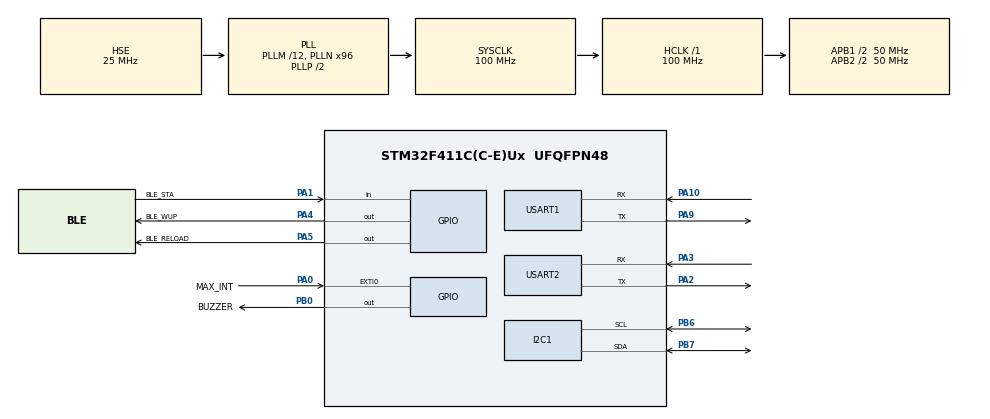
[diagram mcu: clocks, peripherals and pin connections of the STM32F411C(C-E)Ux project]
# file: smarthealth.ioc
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Dma.Request0=USART2_RX
Dma.Request1=USART2_TX
Dma.Request2=USART1_RX
Dma.Request3=USART1_TX
Dma.USART1_RX.2.Direction=DMA_PERIPH_TO_MEMORY
Dma.USART1_RX.2.FIFOMode=DMA_FIFOMODE_DISABLE
Dma.USART1_RX.2.Instance=DMA2_Stream2
Dma.USART1_RX.2.MemDataAlignment=DMA_MDATAALIGN_BYTE
Dma.USART1_RX.2.MemInc=DMA_MINC_ENABLE
Dma.USART1_RX.2.Mode=DMA_CIRCULAR
Dma.USART1_RX.2.PeriphDataAlignment=DMA_PDATAALIGN_BYTE
Dma.USART1_RX.2.PeriphInc=DMA_PINC_DISABLE
Dma.USART1_RX.2.Priority=DMA_PRIORITY_LOW
Dma.USART1_TX.3.Direction=DMA_MEMORY_TO_PERIPH
Dma.USART1_TX.3.FIFOMode=DMA_FIFOMODE_DISABLE
Dma.USART1_TX.3.Instance=DMA2_Stream7
Dma.USART1_TX.3.MemDataAlignment=DMA_MDATAALIGN_BYTE
Dma.USART1_TX.3.MemInc=DMA_MINC_ENABLE
Dma.USART1_TX.3.Mode=DMA_NORMAL
Dma.USART1_TX.3.PeriphDataAlignment=DMA_PDATAALIGN_BYTE
Dma.USART1_TX.3.PeriphInc=DMA_PINC_DISABLE
Dma.USART1_TX.3.Priority=DMA_PRIORITY_LOW
Dma.USART2_RX.0.Direction=DMA_PERIPH_TO_MEMORY
Dma.USART2_RX.0.FIFOMode=DMA_FIFOMODE_DISABLE
Dma.USART2_RX.0.Instance=DMA1_Stream5
Dma.USART2_RX.0.MemDataAlignment=DMA_MDATAALIGN_BYTE
Dma.USART2_RX.0.MemInc=DMA_MINC_ENABLE
Dma.USART2_RX.0.Mode=DMA_CIRCULAR
Dma.USART2_RX.0.PeriphDataAlignment=DMA_PDATAALIGN_BYTE
Dma.USART2_RX.0.PeriphInc=DMA_PINC_DISABLE
Dma.USART2_RX.0.Priority=DMA_PRIORITY_LOW
Dma.USART2_TX.1.Direction=DMA_MEMORY_TO_PERIPH
Dma.USART2_TX.1.FIFOMode=DMA_FIFOMODE_DISABLE
Dma.USART2_TX.1.Instance=DMA1_Stream6
Dma.USART2_TX.1.MemDataAlignment=DMA_MDATAALIGN_BYTE
Dma.USART2_TX.1.MemInc=DMA_MINC_ENABLE
Dma.USART2_TX.1.Mode=DMA_NORMAL
Dma.USART2_TX.1.PeriphDataAlignment=DMA_PDATAALIGN_BYTE
Dma.USART2_TX.1.PeriphInc=DMA_PINC_DISABLE
Dma.USART2_TX.1.Priority=DMA_PRIORITY_LOW
FREERTOS.Mutexes01=I2C1_Mutex,Dynamic,NULL,Available
FREERTOS.Queues01=SensorDataQueue,8,16,1,Dynamic,NULL,NULL
FREERTOS.Tasks01=defaultTask,24,512,StartDefaultTask,Default,NULL,Dynamic,NULL,NULL;MonitorTask,40,512,StartTask02,Default,NULL,Dynamic,NULL,NULL;SensorTask,32,512,StartTask03,Default,NULL,Dynamic,NULL,NULL;BLETask,24,1024,StartTask04,Default,NULL,Dynamic,NULL,NULL
FREERTOS.configTOTAL_HEAP_SIZE=30960
Mcu.Family=STM32F4
Mcu.Name=STM32F411C(C-E)Ux
Mcu.Package=UFQFPN48
NVIC.DMA1_Stream5_IRQn=true\:5\:0\:false\:false\:true\:true\:false\:true\:true
NVIC.DMA1_Stream6_IRQn=true\:5\:0\:false\:false\:true\:true\:false\:true\:true
NVIC.DMA2_Stream2_IRQn=true\:5\:0\:false\:false\:true\:true\:false\:true\:true
NVIC.DMA2_Stream7_IRQn=true\:5\:0\:false\:false\:true\:true\:false\:true\:true
NVIC.EXTI0_IRQn=true\:5\:0\:true\:false\:true\:true\:true\:true\:true
NVIC.PriorityGroup=NVIC_PRIORITYGROUP_4
NVIC.TIM4_IRQn=true\:15\:0\:true\:false\:true\:false\:false\:true\:true
NVIC.TimeBase=TIM4_IRQn
NVIC.TimeBaseIP=TIM4
NVIC.USART1_IRQn=true\:7\:0\:true\:false\:true\:true\:true\:true\:true
NVIC.USART2_IRQn=true\:6\:0\:true\:false\:true\:true\:true\:true\:true
PA0-WKUP.GPIO_Label=MAX_INT
PA0-WKUP.GPIO_ModeDefaultEXTI=GPIO_MODE_IT_FALLING
PA0-WKUP.Signal=GPXTI0
PA1.GPIO_Label=BLE_STA
PA1.Signal=GPIO_Input
PA10.Mode=Asynchronous
PA10.Signal=USART1_RX
PA13.Mode=Serial_Wire
PA13.Signal=SYS_JTMS-SWDIO
PA14.Mode=Serial_Wire
PA14.Signal=SYS_JTCK-SWCLK
PA2.Mode=Asynchronous
PA2.Signal=USART2_TX
PA3.Mode=Asynchronous
PA3.Signal=USART2_RX
PA4.GPIO_Label=BLE_WUP
PA4.PinState=GPIO_PIN_SET
PA4.Signal=GPIO_Output
PA5.GPIO_Label=BLE_RELOAD
PA5.GPIO_Speed=GPIO_SPEED_FREQ_LOW
PA5.PinState=GPIO_PIN_SET
PA5.Signal=GPIO_Output
PA9.Mode=Asynchronous
PA9.Signal=USART1_TX
PB0.GPIO_Label=BUZZER
PB0.Signal=GPIO_Output
PB6.Mode=I2C
PB6.Signal=I2C1_SCL
PB7.Mode=I2C
PB7.Signal=I2C1_SDA
PH0\ -\ OSC_IN.Mode=HSE-External-Oscillator
PH0\ -\ OSC_IN.Signal=RCC_OSC_IN
PH1\ -\ OSC_OUT.Mode=HSE-External-Oscillator
PH1\ -\ OSC_OUT.Signal=RCC_OSC_OUT
ProjectManager.HeapSize=0x200
ProjectManager.StackSize=0x400
ProjectManager.TargetToolchain=MDK-ARM V5.32
RCC.48MHZClocksFreq_Value=50000000
RCC.AHBFreq_Value=100000000
RCC.APB1CLKDivider=RCC_HCLK_DIV2
RCC.APB1Freq_Value=50000000
RCC.APB1TimFreq_Value=100000000
RCC.APB2CLKDivider=RCC_HCLK_DIV2
RCC.APB2Freq_Value=50000000
RCC.APB2TimFreq_Value=100000000
RCC.CortexFreq_Value=100000000
RCC.HCLKFreq_Value=100000000
RCC.HSE_VALUE=25000000
RCC.HSI_VALUE=16000000
RCC.LSE_VALUE=32768
RCC.PLLM=12
RCC.PLLN=96
RCC.PLLSourceVirtual=RCC_PLLSOURCE_HSE
RCC.SYSCLKFreq_VALUE=100000000
RCC.SYSCLKSource=RCC_SYSCLKSOURCE_PLLCLK
RCC.VCOOutputFreq_Value=200000000
USART1.VirtualMode=VM_ASYNC
USART2.VirtualMode=VM_ASYNC
VP_FREERTOS_VS_CMSIS_V2.Mode=CMSIS_V2
VP_SYS_VS_tim4.Mode=TIM4
board=custom

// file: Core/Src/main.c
/* USER CODE BEGIN Header */
/**
  ******************************************************************************
  * @file           : main.c
  * @brief          : Main program body
  ******************************************************************************
  * @attention
  *
  * Copyright (c) 2026 STMicroelectronics.
  * All rights reserved.
  *
  * This software is licensed under terms that can be found in the LICENSE file
  * in the root directory of this software component.
  * If no LICENSE file comes with this software, it is provided AS-IS.
  *
  ******************************************************************************
  */
/* USER CODE END Header */
#include "main.h"
#include "cmsis_os.h"
#include "dma.h"
#include "i2c.h"
#include "usart.h"
#include "gpio.h"

/* USER CODE BEGIN Includes */
#include "bsp_ble.h"
#include "bsp_usart2.h"
/* USER CODE END Includes */

void SystemClock_Config(void);
void MX_FREERTOS_Init(void);

int main(void)
{

  /* MCU Configuration--------------------------------------------------------*/

  /* Reset of all peripherals, Initializes the Flash interface and the Systick. */
  HAL_Init();

  /* Configure the system clock */
  SystemClock_Config();

  /* Initialize all configured peripherals */
  MX_GPIO_Init();
  MX_DMA_Init();
  MX_I2C1_Init();
  MX_USART1_UART_Init();
  MX_USART2_UART_Init();

  /* Init scheduler */
  osKernelInitialize();

  /* Call init function for freertos objects (in cmsis_os2.c) */
  MX_FREERTOS_Init();

  /* Start scheduler */
  osKernelStart();

  /* We should never get here as control is now taken by the scheduler */

  /* Infinite loop */
  while (1)
  {

  }
}

void SystemClock_Config(void)
{
  RCC_OscInitTypeDef RCC_OscInitStruct = {0};
  RCC_ClkInitTypeDef RCC_ClkInitStruct = {0};

  /** Configure the main internal regulator output voltage
  */
  __HAL_RCC_PWR_CLK_ENABLE();
  __HAL_PWR_VOLTAGESCALING_CONFIG(PWR_REGULATOR_VOLTAGE_SCALE1);

  /** Initializes the RCC Oscillators according to the specified parameters
  * in the RCC_OscInitTypeDef structure.
  */
  RCC_OscInitStruct.OscillatorType = RCC_OSCILLATORTYPE_HSE;
  RCC_OscInitStruct.HSEState = RCC_HSE_ON;
  RCC_OscInitStruct.PLL.PLLState = RCC_PLL_ON;
  RCC_OscInitStruct.PLL.PLLSource = RCC_PLLSOURCE_HSE;
  RCC_OscInitStruct.PLL.PLLM = 12;
  RCC_OscInitStruct.PLL.PLLN = 96;
  RCC_OscInitStruct.PLL.PLLP = RCC_PLLP_DIV2;
  RCC_OscInitStruct.PLL.PLLQ = 4;
  if (HAL_RCC_OscConfig(&RCC_OscInitStruct) != HAL_OK)
  {
    Error_Handler();
  }

  /** Initializes the CPU, AHB and APB buses clocks
  */
  RCC_ClkInitStruct.ClockType = RCC_CLOCKTYPE_HCLK|RCC_CLOCKTYPE_SYSCLK
                              |RCC_CLOCKTYPE_PCLK1|RCC_CLOCKTYPE_PCLK2;
  RCC_ClkInitStruct.SYSCLKSource = RCC_SYSCLKSOURCE_PLLCLK;
  RCC_ClkInitStruct.AHBCLKDivider = RCC_SYSCLK_DIV1;
  RCC_ClkInitStruct.APB1CLKDivider = RCC_HCLK_DIV2;
  RCC_ClkInitStruct.APB2CLKDivider = RCC_HCLK_DIV2;

  if (HAL_RCC_ClockConfig(&RCC_ClkInitStruct, FLASH_LATENCY_3) != HAL_OK)
  {
    Error_Handler();
  }
}

void HAL_TIM_PeriodElapsedCallback(TIM_HandleTypeDef *htim)
{
  if (htim->Instance == TIM4)
  {
    HAL_IncTick();
  }
}

void Error_Handler(void)
{
  __disable_irq();
  while (1)
  {
  }
}

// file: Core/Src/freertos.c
/* USER CODE BEGIN Header */
/**
  ******************************************************************************
  * @file    freertos.c
  * @brief   FreeRTOS 应用程序 - 任务实现
  ******************************************************************************
  * @attention
  *
  * Copyright (c) 2026 STMicroelectronics.
  * All rights reserved.
  *
  ******************************************************************************
  */
/* USER CODE END Header */

#include "FreeRTOS.h"
#include "task.h"
#include "main.h"
#include "cmsis_os.h"

/* USER CODE BEGIN Includes */
#include "sensor_task.h"
#include "bsp_ble.h"
#include "bsp_usart2.h"
#include "SensorData.h"
#include "cmsis_os2.h"
/* USER CODE END Includes */

/* USER CODE BEGIN PD */
#define BLE_ALERT_BUZZER_TIMEOUT_MS  5000   /* 报警持续5秒后自动停止 */
#define BLE_SEND_INTERVAL_MS          2000   /* 每2秒发送一次蓝牙数据 */
/* USER CODE END PD */

/* Definitions for defaultTask */
osThreadId_t defaultTaskHandle;
const osThreadAttr_t defaultTask_attributes = {
  .name = "defaultTask",
  .stack_size = 512 * 4,
  .priority = (osPriority_t) osPriorityNormal,
};
/* Definitions for MonitorTask */
osThreadId_t MonitorTaskHandle;
const osThreadAttr_t MonitorTask_attributes = {
  .name = "MonitorTask",
  .stack_size = 512 * 4,
  .priority = (osPriority_t) osPriorityHigh,
};
/* Definitions for SensorTask */
osThreadId_t SensorTaskHandle;
const osThreadAttr_t SensorTask_attributes = {
  .name = "SensorTask",
  .stack_size = 512 * 4,
  .priority = (osPriority_t) osPriorityAboveNormal,
};
/* Definitions for BLETask */
osThreadId_t BLETaskHandle;
const osThreadAttr_t BLETask_attributes = {
  .name = "BLETask",
  .stack_size = 1024 * 4,
  .priority = (osPriority_t) osPriorityNormal,
};
/* Definitions for SensorDataQueue */
osMessageQueueId_t SensorDataQueueHandle;
const osMessageQueueAttr_t SensorDataQueue_attributes = {
  .name = "SensorDataQueue"
};
/* Definitions for I2C1_Mutex */
osMutexId_t I2C1_MutexHandle;
const osMutexAttr_t I2C1_Mutex_attributes = {
  .name = "I2C1_Mutex"
};

void StartDefaultTask(void *argument);
void StartTask02_Monitor(void *argument);
void StartTask03_Sensor(void *argument);
void StartTask04_BLE(void *argument);

void MX_FREERTOS_Init(void); /* (MISRA C 2004 rule 8.1) */

void MX_FREERTOS_Init(void) {

  /* Create the mutex(es) */
  /* creation of I2C1_Mutex */
  I2C1_MutexHandle = osMutexNew(&I2C1_Mutex_attributes);

  /* Create the queue(s) */
  /* creation of SensorDataQueue */
  /* Item Size = 16 字节（sizeof(SensorData_t)=10 字节，留6字节余量） */
  SensorDataQueueHandle = osMessageQueueNew (8, 16, &SensorDataQueue_attributes);

  /* Create the thread(s) */
  /* creation of defaultTask */
  defaultTaskHandle = osThreadNew(StartDefaultTask, NULL, &defaultTask_attributes);

  /* creation of MonitorTask */
  /* [已禁用] MonitorTask - 暂时注释掉，避免因未连接心率传感器导致误报警
   * MonitorTaskHandle = osThreadNew(StartTask02_Monitor, NULL, &MonitorTask_attributes);
   */

  /* creation of SensorTask */
  SensorTaskHandle = osThreadNew(StartTask03_Sensor, NULL, &SensorTask_attributes);

  /* creation of BLETask */
  BLETaskHandle = osThreadNew(StartTask04_BLE, NULL, &BLETask_attributes);

}

void StartDefaultTask(void *argument)
{
  /* USER CODE BEGIN StartDefaultTask */
  (void)argument;
  for(;;)
  {
    osDelay(1);
  }
  /* USER CODE END StartDefaultTask */
}

/* USER CODE BEGIN Header_StartTask02 */
/**
 * @brief  MonitorTask - 监控异常并触发蜂鸣器报警
 * @param  argument: Not used
 * @retval None
 *
 * 逻辑说明：
 *   - [已禁用] 此任务已被休眠，不再运行
 *   - 原逻辑：阻塞等待 SensorDataQueue 数据，若心率或血氧异常，拉高 PB0 触发蜂鸣器
 *   - 如需恢复，请删除 vTaskSuspend(NULL);
 */
/* USER CODE END Header_StartTask02 */
void StartTask02_Monitor(void *argument)
{
  /* USER CODE BEGIN StartTask02 */
  (void)argument;

  /* 任务创建后立即休眠，不再运行 */
  vTaskSuspend(NULL);

  /* 以下为原逻辑（已禁用）：
  SensorData_t data;
  TickType_t buzz_end_tick = 0;

  for(;;)
  {
    if (osMessageQueueGet(SensorDataQueueHandle, &data, NULL,
                           pdMS_TO_TICKS(2000)) == osOK)
    {
      if (SensorData_IsAlert(&data))
      {
        HAL_GPIO_WritePin(BUZZER_GPIO_Port, BUZZER_Pin, GPIO_PIN_SET);
        buzz_end_tick = xTaskGetTickCount()
                      + pdMS_TO_TICKS(BLE_ALERT_BUZZER_TIMEOUT_MS);
      }
    }

    if (buzz_end_tick > 0 && xTaskGetTickCount() >= buzz_end_tick)
    {
      HAL_GPIO_WritePin(BUZZER_GPIO_Port, BUZZER_Pin, GPIO_PIN_RESET);
      buzz_end_tick = 0;
    }
  }
  */
  /* USER CODE END StartTask02 */
}

/* USER CODE BEGIN Header_StartTask03 */
/**
  * @brief  SensorTask - 直接调用 Algorithm 层的 SensorTask_Entry
  * @param  argument: Not used
  * @retval None
  *
  * 逻辑说明：
  *   - 此任务是 FreeRTOS 线程入口，调用 algorithm/sensor_task.c 中的
  *     SensorTask_Entry() 实现
  *   - 传感器读取 → 滤波 → 计算心率/血氧 → 入队
  */
/* USER CODE END Header_StartTask03 */
void StartTask03_Sensor(void *argument)
{
  /* USER CODE BEGIN StartTask03 */
  SensorTask_Entry(argument);
  /* 不应返回 */
  /* USER CODE END StartTask03 */
}

/* USER CODE BEGIN Header_StartTask04 */
/**
  * @brief  BLETask - 接收传感器数据并通过蓝牙发送
  * @param  argument: Not used
  * @retval None
  *
  * 逻辑说明：
  *   - 阻塞等待 SensorDataQueue 数据
  *   - 调用 bsp_ble.c 的打包函数，将数据转为 JSON 或十六进制帧
  *   - 通过 BSP_USART2_Send 发送到手机
  *   - 同时处理手机下发的 BLE 指令（通过 USART2 接收队列）
  */
/* USER CODE END Header_StartTask04 */
void StartTask04_BLE(void *argument)
{
  /* USER CODE BEGIN StartTask04 */
  (void)argument;
  SensorData_t sensor_data;
  USART2_Frame_t cmd_frame;
  // uint8_t ble_frame[20];
  char json_buf[128];
  TickType_t last_send_tick = 0;
  const TickType_t send_interval = pdMS_TO_TICKS(BLE_SEND_INTERVAL_MS);

  /* 初始化 BLE GPIO */
  BSP_BLE_Init();
  BSP_BLE_Wakeup();

  /* 初始化 USART2 DMA + 空闲中断接收 */
  BSP_USART2_Init();

  /* 等待 BLE 连接 */
  while (!BSP_BLE_IsConnected())
  {
    osDelay(500);
  }

  for(;;)
  {
    /* ── 接收手机指令（超时50ms）── */
    if (BSP_USART2_Receive(&cmd_frame, pdMS_TO_TICKS(50)) == pdPASS)
    {
      /* 简单指令解析（示例） */
      if (cmd_frame.len > 0) {
        /* TODO: 实现具体蓝牙指令解析逻辑 */
      }
    }

    /* ── 发送传感器数据（固定间隔）── */
    if (xTaskGetTickCount() - last_send_tick >= send_interval)
    {
      if (SensorTask_GetLatestData(&sensor_data))
      {
        /* 优先使用 JSON 格式（可读性好） */
        int json_len = BSP_BLE_PackSensorDataJSON(&sensor_data, json_buf, sizeof(json_buf));
        if (json_len > 0) {
          BSP_USART2_SendString(json_buf);
          BSP_USART2_SendString("\r\n");
        }
      }
      last_send_tick = xTaskGetTickCount();
    }

    osDelay(10);
  }
  /* USER CODE END StartTask04 */
}
